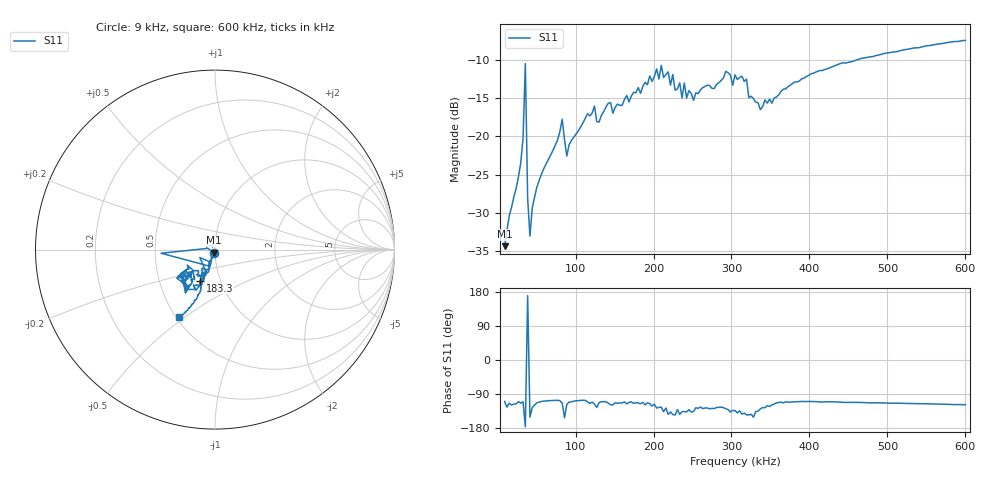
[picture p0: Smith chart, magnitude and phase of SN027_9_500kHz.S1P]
!Agilent Technologies,E5071C,MY46100265,A.07.02
!Date: Mon Jan 27 12:23:18 2020
!Data & Calibration Information:
!Freq	S11:SOLT1(OFF)
# Hz S dB R 50
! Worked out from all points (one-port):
!   201 points, 9 kHz to 600 kHz, reference 50 ohm
!   lowest |S11| = -34.4 dB at 9 kHz (marker M1), VSWR 1.04, Z = 49.3 - j1.77 ohm
!   |S11| at or under -10 dB: start of sweep to 459 kHz
!   S11 on the Smith chart (normalised r, x): 9 kHz: 0.99, -0.04; 183.3 kHz: 0.80, -0.29; 600 kHz: 0.52, -0.48
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9000  -34.42 -109.4
29685  -23.48 -113.8
32640  -20.22 -110.2
35595  -10.43 -176.1
38550  -28.12 169.8
41505  -33.09 -150.7
44460  -29.40 -125.4
50370  -26.68 -112.9
82875  -17.73 -113.6
88785  -22.58 -117.0
124245  -16.00 -116.6
130155  -18.11 -112.5
141975  -15.64 -113.9
156750  -15.90 -113.1
183345  -14.34 -115.5
209940  -10.66 -124.2
230625  -13.74 -130.6
236535  -14.95 -136.3
239490  -12.97 -136.1
251310  -15.26 -136.0
304500  -11.90 -133.2
319275  -12.46 -144.6
322230  -14.90 -145.0
337005  -16.47 -129.1
378375  -13.03 -110.3
452250  -10.22 -111.7
526125  -8.53 -114.7
600000  -7.38 -118.0
